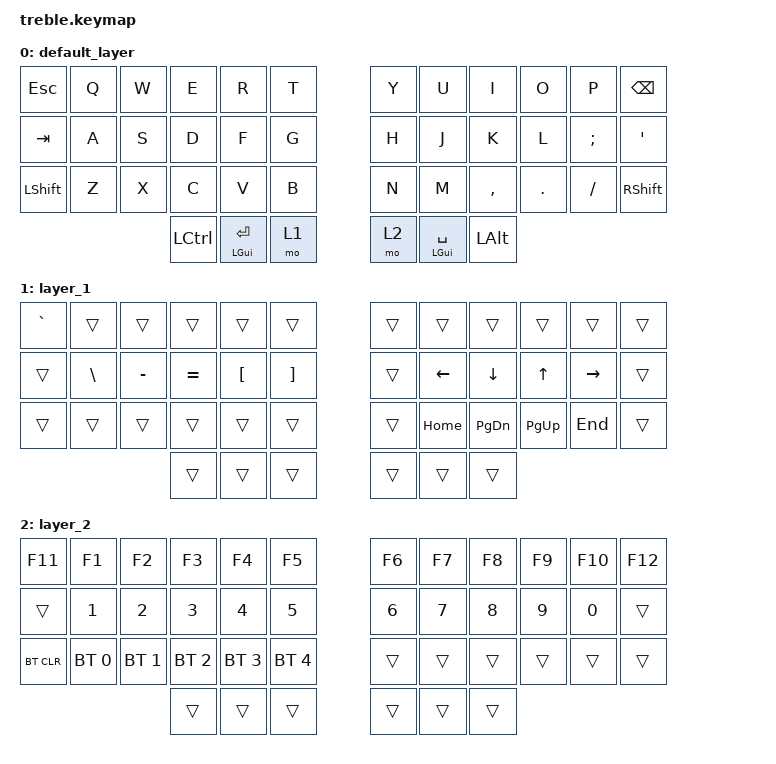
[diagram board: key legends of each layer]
#include <behaviors.dtsi>
#include <dt-bindings/zmk/bt.h>
#include <dt-bindings/zmk/keys.h>

/ {
    keymap {
        compatible = "zmk,keymap";

        default_layer {
            // | Esc   |   Q   |   W   |   E   |   R   |   T   |               |   Y   |   U   |   I   |   O   |   P   | BSPC  |
            // | Tab   |   A   |   S   |   D   |   F   |   G   |               |   H   |   J   |   K   |   L   |   ;   | '     |
            // | Shift |   Z   |   X   |   C   |   V   |   B   |               |   N   |   M   |   ,   |   .   |   /   | Shift |
            //                                 | Ctrl  |Gui Ent|  L-1  |  L-2  |Gui Spc|  Alt  |

            bindings = <
&kp ESC    &kp Q  &kp W  &kp E  &kp R      &kp T                         &kp Y           &kp U     &kp I      &kp O    &kp P     &kp BSPC
&kp TAB    &kp A  &kp S  &kp D  &kp F      &kp G                         &kp H           &kp J     &kp K      &kp L    &kp SEMI  &kp SQT
&kp LSHFT  &kp Z  &kp X  &kp C  &kp V      &kp B                         &kp N           &kp M     &kp COMMA  &kp DOT  &kp FSLH  &kp RSHFT
                                &kp LCTRL  &mt LGUI ENTER  &mo 1  &mo 2  &mt LGUI SPACE  &kp LALT
            >;
        };

        layer_1 {
            // |   `   |       |       |       |       |       |               |       |       |       |       |       |       |
            // |       |   \   |   -   |   =   |   [   |   ]   |               |       | Left  | Down  |  Up   | Right |       |
            // |       |       |       |       |       |       |               |       | Home  | PG DN | PG UP | End   |       |
            //                                 |       |       |       |       |       |       |

            bindings = <
&kp GRAVE  &trans    &trans     &trans     &trans    &trans                    &trans  &trans    &trans     &trans     &trans     &trans
&trans     &kp BSLH  &kp MINUS  &kp EQUAL  &kp LBKT  &kp RBKT                  &trans  &kp LEFT  &kp DOWN   &kp UP     &kp RIGHT  &trans
&trans     &trans    &trans     &trans     &trans    &trans                    &trans  &kp HOME  &kp PG_DN  &kp PG_UP  &kp END    &trans
                                           &trans    &trans    &trans  &trans  &trans  &trans
            >;
        };

        layer_2 {
            // |  F11  |  F1   |  F2   |  F3   |  F4   |  F5   |               |  F6   |  F7   |  F8   |  F9   |  F10  |  F12  |
            // |       |   1   |   2   |   3   |   4   |   5   |               |   6   |   7   |   8   |   9   |   0   |       |
            // | BTCLR |  BT1  |  BT2  |  BT3  |  BT4  |  BT5  |               |       |       |       |       |       |       |
            //                                 |       |       |       |       |       |       |

            bindings = <
&kp F11     &kp F1        &kp F2        &kp F3        &kp F4        &kp F5                        &kp F6  &kp F7  &kp F8  &kp F9  &kp F10  &kp F12
&trans      &kp N1        &kp N2        &kp N3        &kp N4        &kp N5                        &kp N6  &kp N7  &kp N8  &kp N9  &kp N0   &trans
&bt BT_CLR  &bt BT_SEL 0  &bt BT_SEL 1  &bt BT_SEL 2  &bt BT_SEL 3  &bt BT_SEL 4                  &trans  &trans  &trans  &trans  &trans   &trans
                                                      &trans        &trans        &trans  &trans  &trans  &trans
            >;
        };
    };
};
